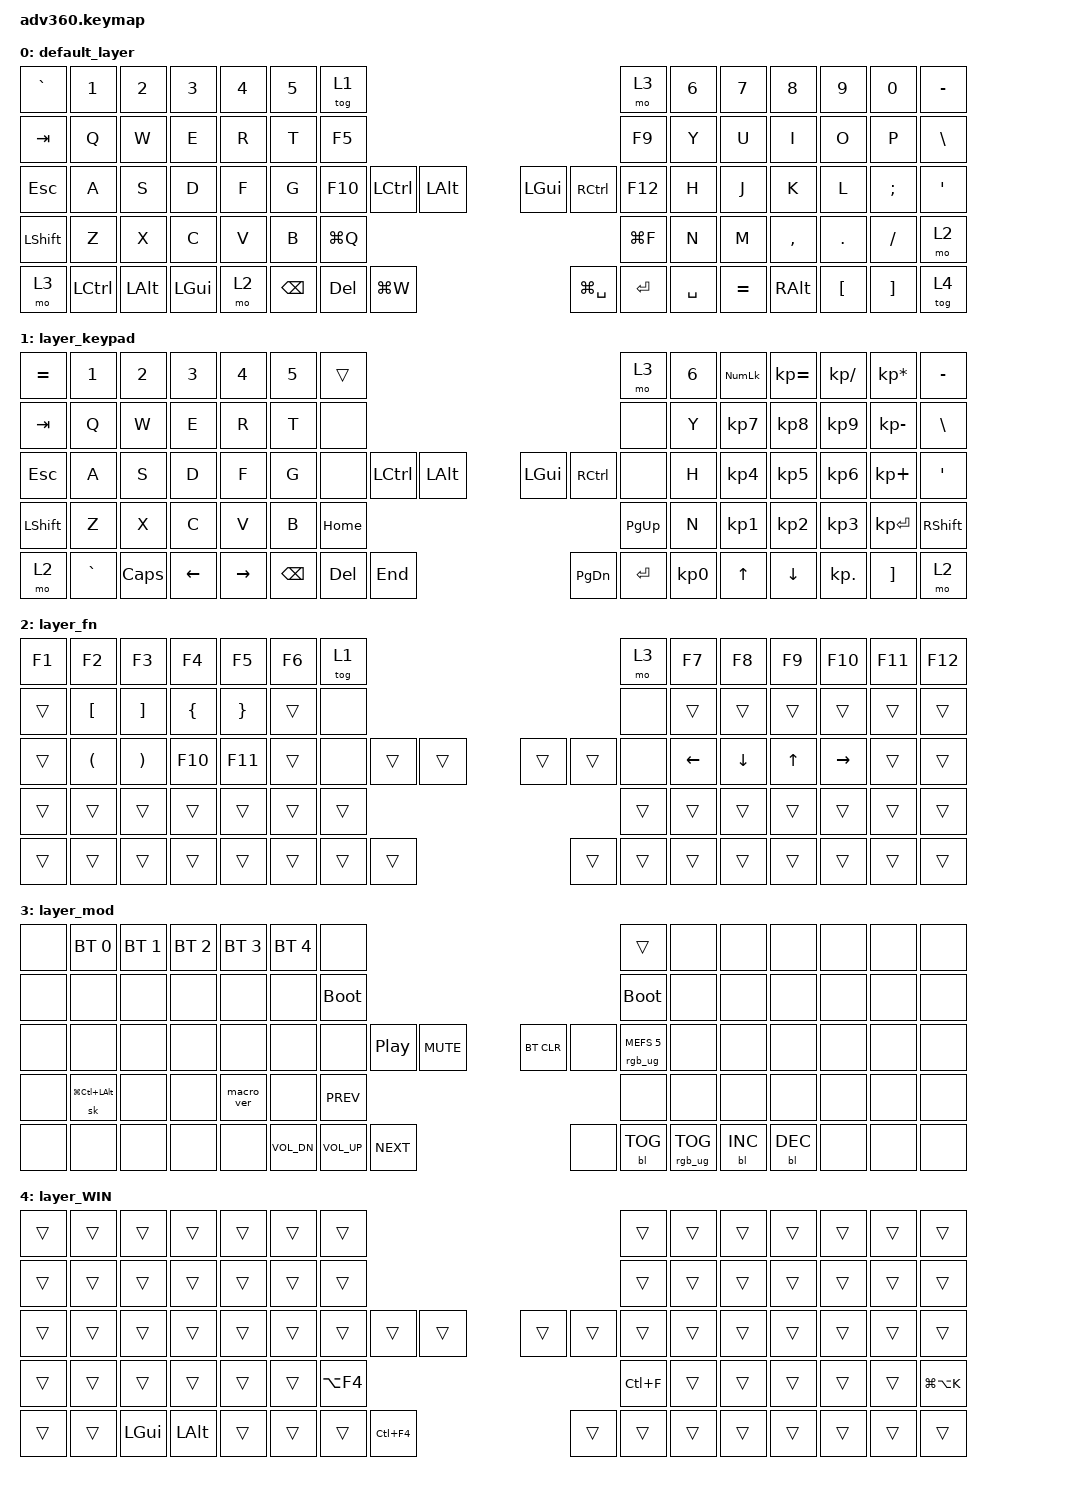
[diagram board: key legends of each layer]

/*
 * Copyright (c) 2020 The ZMK Contributors
 *
 * SPDX-License-Identifier: MIT
 */


/* THIS FILE WAS GENERATED!
 *
 * This file was generated automatically. You may or may not want to
 * edit it directly.
 */

#include <behaviors.dtsi>
#include <dt-bindings/zmk/keys.h>
#include <dt-bindings/zmk/bt.h>
#include <dt-bindings/zmk/rgb.h>
#include <dt-bindings/zmk/backlight.h>

/ {
  behaviors {
    #include "macros.dtsi"
    #include "version.dtsi"

    hm: homerow_mods {
        compatible = "zmk,behavior-hold-tap";
        label = "HOMEROW_MODS";
        #binding-cells = <2>;
        tapping-term-ms = <200>;
        quick_tap_ms = <175>;
        flavor = "tap-preferred";
        bindings = <&kp>, <&kp>;
    };
  };

    keymap {
        compatible = "zmk,keymap";


        default_layer {
            bindings = <
 &kp GRAVE     &kp N1        &kp N2    &kp N3  &kp N4  &kp N5              &tog 1                                                                      &mo 3  &kp N6     &kp N7     &kp N8    &kp N9    &kp N0  &kp MINUS
   &kp TAB      &kp Q         &kp W     &kp E   &kp R   &kp T              &kp F5                                                                     &kp F9   &kp Y      &kp U      &kp I     &kp O     &kp P   &kp BSLH
   &kp ESC      &kp A         &kp S     &kp D   &kp F   &kp G             &kp F10  &kp LCTRL   &kp LALT                       &kp LGUI  &kp RCTRL    &kp F12   &kp H      &kp J      &kp K     &kp L  &kp SEMI    &kp SQT
 &kp LSHFT      &kp Z         &kp X     &kp C   &kp V   &kp B                                 &kp LG(Q)                      &kp LG(F)                         &kp N      &kp M  &kp COMMA   &kp DOT  &kp FSLH      &mo 2
     &mo 3  &kp LCTRL  &kp LEFT_ALT  &kp LGUI   &mo 2                    &kp BSPC    &kp DEL  &kp LG(W)                  &kp LG(SPACE)  &kp ENTER  &kp SPACE          &kp EQUAL   &kp RALT  &kp LBKT  &kp RBKT     &tog 4
            >;
        };

        layer_keypad {
            bindings = <
 &kp EQUAL     &kp N1    &kp N2    &kp N3     &kp N4  &kp N5              &trans                                                                 &mo 3  &kp N6  &kp KP_NUM  &kp KP_EQUAL  &kp KP_DIVIDE  &kp KP_MULTIPLY  &kp MINUS
   &kp TAB      &kp Q     &kp W     &kp E      &kp R   &kp T               &none                                                                 &none   &kp Y   &kp KP_N7     &kp KP_N8      &kp KP_N9     &kp KP_MINUS   &kp BSLH
   &kp ESC      &kp A     &kp S     &kp D      &kp F   &kp G               &none  &kp LCTRL  &kp LALT                   &kp LGUI  &kp RCTRL      &none   &kp H   &kp KP_N4     &kp KP_N5      &kp KP_N6      &kp KP_PLUS    &kp SQT
 &kp LSHFT      &kp Z     &kp X     &kp C      &kp V   &kp B                                 &kp HOME                  &kp PG_UP                         &kp N   &kp KP_N1     &kp KP_N2      &kp KP_N3     &kp KP_ENTER  &kp RSHFT
     &mo 2  &kp GRAVE  &kp CAPS  &kp LEFT  &kp RIGHT                    &kp BSPC    &kp DEL   &kp END                  &kp PG_DN  &kp ENTER  &kp KP_N0              &kp UP      &kp DOWN     &kp KP_DOT         &kp RBKT      &mo 2
            >;
        };

        layer_fn {
            bindings = <
 &kp F1    &kp F2    &kp F3    &kp F4    &kp F5  &kp F6            &tog 1                                                   &mo 3    &kp F7    &kp F8  &kp F9    &kp F10  &kp F11  &kp F12
 &trans  &kp LBKT  &kp RBKT  &kp LBRC  &kp RBRC  &trans             &none                                                   &none    &trans    &trans  &trans     &trans   &trans   &trans
 &trans  &kp LPAR  &kp RPAR   &kp F10   &kp F11  &trans             &none  &trans  &trans                  &trans  &trans   &none  &kp LEFT  &kp DOWN  &kp UP  &kp RIGHT   &trans   &trans
 &trans    &trans    &trans    &trans    &trans  &trans                            &trans                  &trans                    &trans    &trans  &trans     &trans   &trans   &trans
 &trans    &trans    &trans    &trans    &trans                    &trans  &trans  &trans                  &trans  &trans  &trans              &trans  &trans     &trans   &trans   &trans
            >;
        };

        layer_mod {
            bindings = <
  &none          &bt BT_SEL 0  &bt BT_SEL 1  &bt BT_SEL 2  &bt BT_SEL 3  &bt BT_SEL 4                   &none                                                                                        &trans   &none       &none       &none   &none   &none   &none
  &none                 &none         &none         &none         &none         &none             &bootloader                                                                                   &bootloader   &none       &none       &none   &none   &none   &none
  &none                 &none         &none         &none         &none         &none                   &none  &kp C_PLAY_PAUSE  &kp C_MUTE                  &bt BT_CLR       &none  &rgb_ug RGB_MEFS_CMD 5   &none       &none       &none   &none   &none   &none
  &none  &sk LG(LC(LEFT_ALT))         &none         &none    &macro_ver         &none                                            &kp C_PREV                       &none                                       &none       &none       &none   &none   &none   &none
  &none                 &none         &none         &none         &none                          &kp C_VOL_DN      &kp C_VOL_UP  &kp C_NEXT                       &none  &bl BL_TOG         &rgb_ug RGB_TOG          &bl BL_INC  &bl BL_DEC   &none   &none   &none
            >;
        };

        layer_WIN {
            bindings = <
 &trans  &trans        &trans    &trans  &trans  &trans            &trans                                                         &trans  &trans  &trans  &trans  &trans  &trans         &trans
 &trans  &trans        &trans    &trans  &trans  &trans            &trans                                                         &trans  &trans  &trans  &trans  &trans  &trans         &trans
 &trans  &trans        &trans    &trans  &trans  &trans            &trans  &trans      &trans                     &trans  &trans  &trans  &trans  &trans  &trans  &trans  &trans         &trans
 &trans  &trans        &trans    &trans  &trans  &trans                            &kp LA(F4)                  &kp LC(F)                  &trans  &trans  &trans  &trans  &trans  &kp LG(LA(K))
 &trans  &trans  &kp LEFT_GUI  &kp LALT  &trans                    &trans  &trans  &kp LC(F4)                     &trans  &trans  &trans          &trans  &trans  &trans  &trans         &trans
            >;
        };

    };
};
